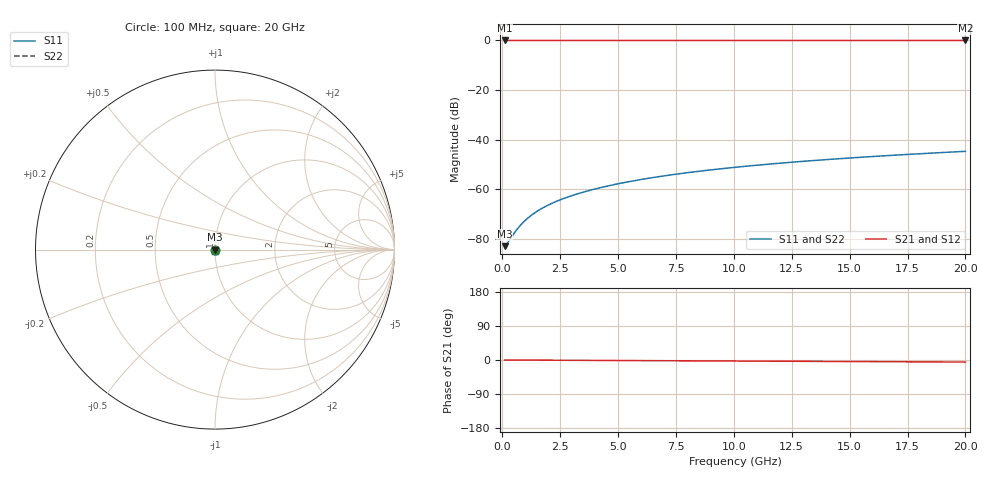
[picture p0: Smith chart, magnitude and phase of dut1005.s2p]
! Touchstone file exported from HFSS 2026.1.0
!  File:  C:/ffzhzh/LocalFiles/Ansys_Project_Files/temp_train_TSV_1005_1783188543_22436.aedt
!  Generated:  02:10:25 AM Jul  5, 2026
!  Design:  TSV
!  Project:  temp_train_TSV_1005_1783188543_22436
! Variables:
!  h_bsmrdl = 2um
!  h_ox = 20um
!  h_rdl = 5um
!  h_sub = 50.6um
!  h_tmrdl = 5um
!  h_tsv = 50.6um
!  h_via = 3um
!  l_bsmrdl = 300um
!  l_sub = 424um
!  l_tmrdl = 200um
!  m_sub = 200um
!  pitch = 44.75um
!  r_tsv = 12um
!  s_tmrdl = 10um
!  w_bsmrdl = 18um
!  w_sub = 500um
!  w_tmrdl = 12um
!  x_tsv_center1 = 206um
!  x_tsv_center2 = 524um
!  x_tsv_center3 = 736um
!  x_tsv_center4 = 1054um
!  x_tsv_center5 = 1266um
!  x_tsv_center6 = 1584um
# GHz S MA R 50.000000
! Terminal data exported
! Port[1] = TSV1_1_T1
! Port[2] = TSV1_1_T2
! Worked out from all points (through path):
!   200 points, 100 MHz to 20 GHz, reference 50 ohm
!   highest |S21| = 0.00 dB at 100 MHz (marker M1); lowest = 0.0 dB at 20 GHz (marker M2)
!   lowest |S11| = -82.8 dB at 100 MHz (marker M3), VSWR 1.00, Z = 50 - j1.42e-05 ohm
!   |S11| at or under -10 dB: start of sweep to end of sweep
!   |S22| runs from -82.8 to -44.7 dB; largest |S21 - S12| = 1e-15
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0.1  7.21e-05 -0.1  0.9999 -0.0  0.9999 -0.0  7.21e-05 -0.1
! Gamma 0 0 0 0
! Port Impedance 50 0 50 0
0.3  9.382e-05 -5.1  0.9999 -0.1  0.9999 -0.1  9.382e-05 -5.1
0.4  0.0001102 -9.8  0.9999 -0.1  0.9999 -0.1  0.0001102 -9.7
0.6  0.0001495 -20.1  0.9999 -0.2  0.9999 -0.2  0.0001495 -20.1
0.7  0.0001712 -25.0  0.9998 -0.2  0.9998 -0.2  0.0001712 -25.0
0.9  0.0002169 -33.5  0.9998 -0.3  0.9998 -0.3  0.0002169 -33.5
1.2  0.0002889 -43.4  0.9998 -0.3  0.9998 -0.3  0.0002889 -43.4
1.6  0.0003879 -52.2  0.9998 -0.4  0.9998 -0.4  0.0003879 -52.2
2  0.000489 -58.1  0.9997 -0.6  0.9997 -0.6  0.000489 -58.1
2.4  0.0005919 -62.2  0.9997 -0.7  0.9997 -0.7  0.0005919 -62.2
2.9  0.000723 -65.8  0.9997 -0.8  0.9997 -0.8  0.000723 -65.8
3.5  0.0008839 -68.9  0.9997 -1.0  0.9997 -1.0  0.0008839 -68.9
4.2  0.001076 -71.4  0.9996 -1.1  0.9996 -1.1  0.001076 -71.4
5  0.001301 -73.6  0.9996 -1.4  0.9996 -1.4  0.001301 -73.6
5.9  0.00156 -75.5  0.9996 -1.6  0.9996 -1.6  0.00156 -75.5
6.8  0.001823 -77.0  0.9995 -1.9  0.9995 -1.9  0.001823 -77.0
8.3  0.002267 -79.1  0.9995 -2.3  0.9995 -2.3  0.002267 -79.1
10.1  0.002808 -81.0  0.9994 -2.7  0.9994 -2.7  0.002808 -81.0
11.7  0.003292 -82.5  0.9994 -3.2  0.9994 -3.2  0.003292 -82.5
13.4  0.003809 -83.8  0.9993 -3.6  0.9993 -3.6  0.003809 -83.8
16.7  0.004824 -85.8  0.9993 -4.5  0.9993 -4.5  0.004824 -85.8
20  0.005854 -87.5  0.9992 -5.4  0.9992 -5.4  0.005854 -87.5
